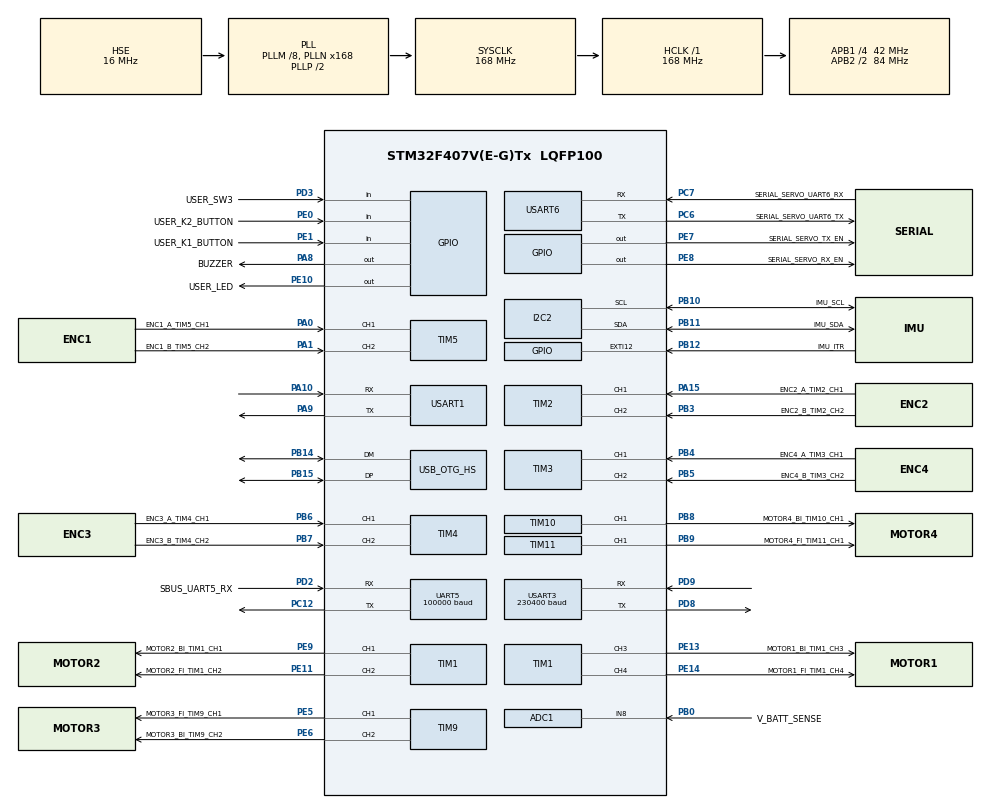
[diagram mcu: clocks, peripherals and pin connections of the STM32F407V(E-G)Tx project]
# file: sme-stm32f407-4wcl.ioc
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ADC1.Channel-1\#ChannelRegularConversion=ADC_CHANNEL_8
ADC1.Channel-2\#ChannelRegularConversion=ADC_CHANNEL_VREFINT
ADC1.Channel-3\#ChannelRegularConversion=ADC_CHANNEL_TEMPSENSOR
ADC1.ClockPrescaler=ADC_CLOCK_SYNC_PCLK_DIV8
ADC1.ContinuousConvMode=ENABLE
ADC1.DMAContinuousRequests=ENABLE
ADC1.EOCSelection=ADC_EOC_SEQ_CONV
ADC1.NbrOfConversion=3
ADC1.NbrOfConversionFlag=1
ADC1.Rank-1\#ChannelRegularConversion=1
ADC1.Rank-2\#ChannelRegularConversion=2
ADC1.Rank-3\#ChannelRegularConversion=3
ADC1.SamplingTime-1\#ChannelRegularConversion=ADC_SAMPLETIME_480CYCLES
ADC1.SamplingTime-2\#ChannelRegularConversion=ADC_SAMPLETIME_480CYCLES
ADC1.SamplingTime-3\#ChannelRegularConversion=ADC_SAMPLETIME_480CYCLES
ADC1.ScanConvMode=ENABLE
ADC1.master=1
Dma.ADC1.4.Direction=DMA_PERIPH_TO_MEMORY
Dma.ADC1.4.FIFOMode=DMA_FIFOMODE_DISABLE
Dma.ADC1.4.Instance=DMA2_Stream0
Dma.ADC1.4.MemDataAlignment=DMA_MDATAALIGN_HALFWORD
Dma.ADC1.4.MemInc=DMA_MINC_ENABLE
Dma.ADC1.4.Mode=DMA_CIRCULAR
Dma.ADC1.4.PeriphDataAlignment=DMA_PDATAALIGN_HALFWORD
Dma.ADC1.4.PeriphInc=DMA_PINC_DISABLE
Dma.ADC1.4.Priority=DMA_PRIORITY_HIGH
Dma.Request0=USART1_RX
Dma.Request1=USART1_TX
Dma.Request2=USART3_RX
Dma.Request3=USART3_TX
Dma.Request4=ADC1
Dma.Request5=UART5_RX
Dma.UART5_RX.5.Direction=DMA_PERIPH_TO_MEMORY
Dma.UART5_RX.5.FIFOMode=DMA_FIFOMODE_DISABLE
Dma.UART5_RX.5.Instance=DMA1_Stream0
Dma.UART5_RX.5.MemDataAlignment=DMA_MDATAALIGN_BYTE
Dma.UART5_RX.5.MemInc=DMA_MINC_ENABLE
Dma.UART5_RX.5.Mode=DMA_CIRCULAR
Dma.UART5_RX.5.PeriphDataAlignment=DMA_PDATAALIGN_BYTE
Dma.UART5_RX.5.PeriphInc=DMA_PINC_DISABLE
Dma.UART5_RX.5.Priority=DMA_PRIORITY_LOW
Dma.USART1_RX.0.Direction=DMA_PERIPH_TO_MEMORY
Dma.USART1_RX.0.FIFOMode=DMA_FIFOMODE_DISABLE
Dma.USART1_RX.0.Instance=DMA2_Stream2
Dma.USART1_RX.0.MemDataAlignment=DMA_MDATAALIGN_BYTE
Dma.USART1_RX.0.MemInc=DMA_MINC_ENABLE
Dma.USART1_RX.0.Mode=DMA_CIRCULAR
Dma.USART1_RX.0.PeriphDataAlignment=DMA_PDATAALIGN_BYTE
Dma.USART1_RX.0.PeriphInc=DMA_PINC_DISABLE
Dma.USART1_RX.0.Priority=DMA_PRIORITY_LOW
Dma.USART1_TX.1.Direction=DMA_MEMORY_TO_PERIPH
Dma.USART1_TX.1.FIFOMode=DMA_FIFOMODE_DISABLE
Dma.USART1_TX.1.Instance=DMA2_Stream7
Dma.USART1_TX.1.MemDataAlignment=DMA_MDATAALIGN_BYTE
Dma.USART1_TX.1.MemInc=DMA_MINC_ENABLE
Dma.USART1_TX.1.Mode=DMA_NORMAL
Dma.USART1_TX.1.PeriphDataAlignment=DMA_PDATAALIGN_BYTE
Dma.USART1_TX.1.PeriphInc=DMA_PINC_DISABLE
Dma.USART1_TX.1.Priority=DMA_PRIORITY_LOW
Dma.USART3_RX.2.Direction=DMA_PERIPH_TO_MEMORY
Dma.USART3_RX.2.FIFOMode=DMA_FIFOMODE_DISABLE
Dma.USART3_RX.2.Instance=DMA1_Stream1
Dma.USART3_RX.2.MemDataAlignment=DMA_MDATAALIGN_BYTE
Dma.USART3_RX.2.MemInc=DMA_MINC_ENABLE
Dma.USART3_RX.2.Mode=DMA_CIRCULAR
Dma.USART3_RX.2.PeriphDataAlignment=DMA_PDATAALIGN_BYTE
Dma.USART3_RX.2.PeriphInc=DMA_PINC_DISABLE
Dma.USART3_RX.2.Priority=DMA_PRIORITY_MEDIUM
Dma.USART3_TX.3.Direction=DMA_MEMORY_TO_PERIPH
Dma.USART3_TX.3.FIFOMode=DMA_FIFOMODE_DISABLE
Dma.USART3_TX.3.Instance=DMA1_Stream3
Dma.USART3_TX.3.MemDataAlignment=DMA_MDATAALIGN_BYTE
Dma.USART3_TX.3.MemInc=DMA_MINC_ENABLE
Dma.USART3_TX.3.Mode=DMA_NORMAL
Dma.USART3_TX.3.PeriphDataAlignment=DMA_PDATAALIGN_BYTE
Dma.USART3_TX.3.PeriphInc=DMA_PINC_DISABLE
Dma.USART3_TX.3.Priority=DMA_PRIORITY_MEDIUM
FREERTOS.Tasks01=defaultTask,24,256,StartDefaultTask,As weak,NULL,Dynamic,NULL,NULL
FREERTOS.configENABLE_FPU=0
FREERTOS.configTOTAL_HEAP_SIZE=64000
Mcu.Family=STM32F4
Mcu.Name=STM32F407V(E-G)Tx
Mcu.Package=LQFP100
NVIC.DMA1_Stream0_IRQn=true\:5\:0\:false\:false\:true\:true\:false\:true\:true
NVIC.DMA1_Stream1_IRQn=true\:5\:0\:false\:false\:true\:true\:false\:true\:true
NVIC.DMA1_Stream3_IRQn=true\:5\:0\:false\:false\:true\:true\:false\:true\:true
NVIC.DMA2_Stream0_IRQn=true\:5\:0\:false\:false\:true\:true\:false\:true\:true
NVIC.DMA2_Stream2_IRQn=true\:5\:0\:false\:false\:true\:true\:false\:true\:true
NVIC.DMA2_Stream7_IRQn=true\:5\:0\:false\:false\:true\:true\:false\:true\:true
NVIC.OTG_HS_IRQn=true\:5\:0\:false\:false\:true\:true\:false\:true\:true
NVIC.PriorityGroup=NVIC_PRIORITYGROUP_4
NVIC.TIM6_DAC_IRQn=true\:15\:0\:false\:false\:true\:false\:false\:true\:true
NVIC.TimeBase=TIM6_DAC_IRQn
NVIC.TimeBaseIP=TIM6
NVIC.UART5_IRQn=true\:5\:0\:false\:false\:true\:true\:true\:true\:true
NVIC.USART1_IRQn=true\:5\:0\:false\:false\:true\:true\:true\:true\:true
NVIC.USART3_IRQn=true\:5\:0\:false\:false\:true\:true\:true\:true\:true
NVIC.USART6_IRQn=true\:5\:0\:false\:false\:true\:true\:true\:true\:true
PA0-WKUP.GPIO_Label=ENC1_A_TIM5_CH1
PA0-WKUP.Signal=S_TIM5_CH1
PA1.GPIO_Label=ENC1_B_TIM5_CH2
PA1.Signal=S_TIM5_CH2
PA10.GPIO_Speed=GPIO_SPEED_FREQ_VERY_HIGH
PA10.Mode=Asynchronous
PA10.Signal=USART1_RX
PA13.Mode=Serial_Wire
PA13.Signal=SYS_JTMS-SWDIO
PA14.Mode=Serial_Wire
PA14.Signal=SYS_JTCK-SWCLK
PA15.GPIO_Label=ENC2_A_TIM2_CH1
PA15.Signal=S_TIM2_CH1_ETR
PA8.GPIO_Label=BUZZER
PA8.Signal=GPIO_Output
PA9.GPIO_Speed=GPIO_SPEED_FREQ_VERY_HIGH
PA9.Mode=Asynchronous
PA9.Signal=USART1_TX
PB0.GPIO_Label=V_BATT_SENSE
PB0.Signal=ADCx_IN8
PB10.GPIO_Label=IMU_SCL
PB10.GPIO_Pu=GPIO_PULLUP
PB10.Mode=I2C
PB10.Signal=I2C2_SCL
PB11.GPIO_Label=IMU_SDA
PB11.GPIO_Pu=GPIO_PULLUP
PB11.Mode=I2C
PB11.Signal=I2C2_SDA
PB12.GPIO_Label=IMU_ITR
PB12.Signal=GPXTI12
PB14.Mode=Host_FS
PB14.Signal=USB_OTG_HS_DM
PB15.Mode=Host_FS
PB15.Signal=USB_OTG_HS_DP
PB3.GPIO_Label=ENC2_B_TIM2_CH2
PB3.Signal=S_TIM2_CH2
PB4.GPIO_Label=ENC4_A_TIM3_CH1
PB4.Signal=S_TIM3_CH1
PB5.GPIO_Label=ENC4_B_TIM3_CH2
PB5.Signal=S_TIM3_CH2
PB6.GPIO_Label=ENC3_A_TIM4_CH1
PB6.Signal=S_TIM4_CH1
PB7.GPIO_Label=ENC3_B_TIM4_CH2
PB7.Signal=S_TIM4_CH2
PB8.GPIO_Label=MOTOR4_BI_TIM10_CH1
PB8.Signal=S_TIM10_CH1
PB9.GPIO_Label=MOTOR4_FI_TIM11_CH1
PB9.Signal=S_TIM11_CH1
PC12.GPIO_Speed=GPIO_SPEED_FREQ_VERY_HIGH
PC12.Mode=Asynchronous
PC12.Signal=UART5_TX
PC6.GPIO_Label=SERIAL_SERVO_UART6_TX
PC6.GPIO_Speed=GPIO_SPEED_FREQ_VERY_HIGH
PC6.Mode=Asynchronous
PC6.Signal=USART6_TX
PC7.GPIO_Label=SERIAL_SERVO_UART6_RX
PC7.GPIO_Speed=GPIO_SPEED_FREQ_VERY_HIGH
PC7.Mode=Asynchronous
PC7.Signal=USART6_RX
PD2.GPIO_Label=SBUS_UART5_RX
PD2.GPIO_Speed=GPIO_SPEED_FREQ_VERY_HIGH
PD2.Mode=Asynchronous
PD2.Signal=UART5_RX
PD3.GPIO_Label=USER_SW3
PD3.Signal=GPIO_Input
PD8.GPIO_Speed=GPIO_SPEED_FREQ_VERY_HIGH
PD8.Mode=Asynchronous
PD8.Signal=USART3_TX
PD9.GPIO_Speed=GPIO_SPEED_FREQ_VERY_HIGH
PD9.Mode=Asynchronous
PD9.Signal=USART3_RX
PE0.GPIO_Label=USER_K2_BUTTON
PE0.Signal=GPIO_Input
PE1.GPIO_Label=USER_K1_BUTTON
PE1.Signal=GPIO_Input
PE10.GPIO_Label=USER_LED
PE10.Signal=GPIO_Output
PE11.GPIO_Label=MOTOR2_FI_TIM1_CH2
PE11.Signal=S_TIM1_CH2
PE13.GPIO_Label=MOTOR1_BI_TIM1_CH3
PE13.Signal=S_TIM1_CH3
PE14.GPIO_Label=MOTOR1_FI_TIM1_CH4
PE14.Signal=S_TIM1_CH4
PE5.GPIO_Label=MOTOR3_FI_TIM9_CH1
PE5.Signal=S_TIM9_CH1
PE6.GPIO_Label=MOTOR3_BI_TIM9_CH2
PE6.Signal=S_TIM9_CH2
PE7.GPIO_Label=SERIAL_SERVO_TX_EN
PE7.Signal=GPIO_Output
PE8.GPIO_Label=SERIAL_SERVO_RX_EN
PE8.Signal=GPIO_Output
PE9.GPIO_Label=MOTOR2_BI_TIM1_CH1
PE9.Signal=S_TIM1_CH1
PH0-OSC_IN.Mode=HSE-External-Oscillator
PH0-OSC_IN.Signal=RCC_OSC_IN
PH1-OSC_OUT.Mode=HSE-External-Oscillator
PH1-OSC_OUT.Signal=RCC_OSC_OUT
ProjectManager.HeapSize=0x200
ProjectManager.StackSize=0x400
ProjectManager.TargetToolchain=CMake
RCC.48MHZClocksFreq_Value=48000000
RCC.AHBFreq_Value=168000000
RCC.APB1CLKDivider=RCC_HCLK_DIV4
RCC.APB1Freq_Value=42000000
RCC.APB1TimFreq_Value=84000000
RCC.APB2CLKDivider=RCC_HCLK_DIV2
RCC.APB2Freq_Value=84000000
RCC.APB2TimFreq_Value=168000000
RCC.CortexFreq_Value=168000000
RCC.HCLKFreq_Value=168000000
RCC.HSE_VALUE=16000000
RCC.HSI_VALUE=16000000
RCC.LSE_VALUE=32768
RCC.PLLM=8
RCC.PLLN=168
RCC.PLLQ=7
RCC.SYSCLKFreq_VALUE=168000000
RCC.SYSCLKSource=RCC_SYSCLKSOURCE_PLLCLK
RCC.VCOOutputFreq_Value=336000000
SH.ADCx_IN8.0=ADC1_IN8,IN8
SH.S_TIM10_CH1.0=TIM10_CH1,PWM Generation1 CH1
SH.S_TIM11_CH1.0=TIM11_CH1,PWM Generation1 CH1
SH.S_TIM1_CH1.0=TIM1_CH1,PWM Generation1 CH1
SH.S_TIM1_CH2.0=TIM1_CH2,PWM Generation2 CH2
SH.S_TIM1_CH3.0=TIM1_CH3,PWM Generation3 CH3
SH.S_TIM1_CH4.0=TIM1_CH4,PWM Generation4 CH4
SH.S_TIM2_CH1_ETR.0=TIM2_CH1,Encoder_Interface
SH.S_TIM2_CH2.0=TIM2_CH2,Encoder_Interface
SH.S_TIM3_CH1.0=TIM3_CH1,Encoder_Interface
SH.S_TIM3_CH2.0=TIM3_CH2,Encoder_Interface
SH.S_TIM4_CH1.0=TIM4_CH1,Encoder_Interface
SH.S_TIM4_CH2.0=TIM4_CH2,Encoder_Interface
SH.S_TIM5_CH1.0=TIM5_CH1,Encoder_Interface
SH.S_TIM5_CH2.0=TIM5_CH2,Encoder_Interface
SH.S_TIM9_CH1.0=TIM9_CH1,PWM Generation1 CH1
SH.S_TIM9_CH2.0=TIM9_CH2,PWM Generation2 CH2
TIM1.Channel-PWM\ Generation1\ CH1=TIM_CHANNEL_1
TIM1.Channel-PWM\ Generation2\ CH2=TIM_CHANNEL_2
TIM1.Channel-PWM\ Generation3\ CH3=TIM_CHANNEL_3
TIM1.Channel-PWM\ Generation4\ CH4=TIM_CHANNEL_4
TIM10.Channel=TIM_CHANNEL_1
TIM11.Channel=TIM_CHANNEL_1
TIM9.Channel-PWM\ Generation1\ CH1=TIM_CHANNEL_1
TIM9.Channel-PWM\ Generation2\ CH2=TIM_CHANNEL_2
UART5.BaudRate=100000
UART5.Mode=MODE_RX
UART5.Parity=PARITY_ODD
UART5.StopBits=UART_STOPBITS_2
UART5.VirtualMode=Asynchronous
UART5.WordLength=WORDLENGTH_9B
USART1.VirtualMode=VM_ASYNC
USART3.BaudRate=230400
USART3.VirtualMode=VM_ASYNC
USART6.VirtualMode=VM_ASYNC
USB_HOST.SW_VBUS_DRIVE_HID_HS=true
USB_HOST.USBH_HandleTypeDef-HID_HS=hUsbHostHS
USB_HOST.USBH_MAX_NUM_CONFIGURATION-HID_HS=2
USB_HOST.USBH_MAX_SIZE_CONFIGURATION-HID_HS=512
USB_HOST.USBH_PROCESS_STACK_SIZE-HID_HS=2048
USB_HOST.VirtualModeHS=Hid
USB_OTG_HS.VirtualMode-Host_FS=Host_FS
VP_ADC1_TempSens_Input.Mode=IN-TempSens
VP_ADC1_Vref_Input.Mode=IN-Vrefint
VP_FREERTOS_VS_CMSIS_V2.Mode=CMSIS_V2
VP_SYS_VS_tim6.Mode=TIM6
VP_TIM10_VS_ClockSourceINT.Mode=Enable_Timer
VP_TIM11_VS_ClockSourceINT.Mode=Enable_Timer
VP_TIM1_VS_ClockSourceINT.Mode=Internal
VP_USB_HOST_VS_USB_HOST_HID_HS.Mode=HID_HS
board=custom

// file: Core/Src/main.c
/* USER CODE BEGIN Header */
/**
  ******************************************************************************
  * @file           : main.c
  * @brief          : Main program body
  ******************************************************************************
  * @attention
  *
  * Copyright (c) 2026 STMicroelectronics.
  * All rights reserved.
  *
  * This software is licensed under terms that can be found in the LICENSE file
  * in the root directory of this software component.
  * If no LICENSE file comes with this software, it is provided AS-IS.
  *
  ******************************************************************************
  */
/* USER CODE END Header */
#include "main.h"
#include "cmsis_os.h"
#include "adc.h"
#include "dma.h"
#include "i2c.h"
#include "tim.h"
#include "usart.h"
#include "usb_host.h"
#include "gpio.h"

/* USER CODE BEGIN Includes */
#include <stdio.h>
#include "robot_state.h"
#include "bsp_mcu_sensors.h"
#include "bsp_battery.h"
#include "bsp_console.h"
#include "app_config.h"
#include "app_rtos.h"
#include <string.h>
/* USER CODE END Includes */

void SystemClock_Config(void);
void MX_FREERTOS_Init(void);

int main(void)
{

  /* MCU Configuration--------------------------------------------------------*/

  /* Reset of all peripherals, Initializes the Flash interface and the Systick. */
  HAL_Init();

  /* Configure the system clock */
  SystemClock_Config();

  /* Initialize all configured peripherals */
  MX_GPIO_Init();
  MX_DMA_Init();
  MX_USART1_UART_Init();
  MX_USART3_UART_Init();
  MX_ADC1_Init();
  MX_I2C2_Init();
  MX_TIM1_Init();
  MX_TIM2_Init();
  MX_TIM3_Init();
  MX_TIM4_Init();
  MX_TIM5_Init();
  MX_TIM9_Init();
  MX_TIM10_Init();
  MX_TIM11_Init();
  MX_USART6_UART_Init();
  MX_UART5_Init();
  /* USER CODE BEGIN 2 */
  /* App Configuration Init */
  AppConfig_Init();

  /* Initialize Robot State from defaults */
  RobotState_Init();

  /* Post-Init Verification */
  if (HAL_ADC_GetState(&hadc1) == HAL_ADC_STATE_ERROR) {
      RobotState_SetErrorFlag(ERR_HAL_ADC);
  }
  if (huart1.gState == HAL_UART_STATE_ERROR) {
      RobotState_SetErrorFlag(ERR_HAL_UART);
  }

  /* BSP System Sensors Init (Batt, Vref, Temp) */
  BSP_SystemSensors_Init();
  /* USER CODE END 2 */

  /* Init scheduler */
  osKernelInitialize();  /* Call init function for freertos objects (in cmsis_os2.c) */
  MX_FREERTOS_Init();

  /* Start scheduler */
  osKernelStart();

  /* We should never get here as control is now taken by the scheduler */

  /* Infinite loop */
  while (1)
  {

  }
}

void SystemClock_Config(void)
{
  RCC_OscInitTypeDef RCC_OscInitStruct = {0};
  RCC_ClkInitTypeDef RCC_ClkInitStruct = {0};

  /** Configure the main internal regulator output voltage
  */
  __HAL_RCC_PWR_CLK_ENABLE();
  __HAL_PWR_VOLTAGESCALING_CONFIG(PWR_REGULATOR_VOLTAGE_SCALE1);

  /** Initializes the RCC Oscillators according to the specified parameters
  * in the RCC_OscInitTypeDef structure.
  */
  RCC_OscInitStruct.OscillatorType = RCC_OSCILLATORTYPE_HSE;
  RCC_OscInitStruct.HSEState = RCC_HSE_ON;
  RCC_OscInitStruct.PLL.PLLState = RCC_PLL_ON;
  RCC_OscInitStruct.PLL.PLLSource = RCC_PLLSOURCE_HSE;
  RCC_OscInitStruct.PLL.PLLM = 8;
  RCC_OscInitStruct.PLL.PLLN = 168;
  RCC_OscInitStruct.PLL.PLLP = RCC_PLLP_DIV2;
  RCC_OscInitStruct.PLL.PLLQ = 7;
  if (HAL_RCC_OscConfig(&RCC_OscInitStruct) != HAL_OK)
  {
    Error_Handler();
  }

  /** Initializes the CPU, AHB and APB buses clocks
  */
  RCC_ClkInitStruct.ClockType = RCC_CLOCKTYPE_HCLK|RCC_CLOCKTYPE_SYSCLK
                              |RCC_CLOCKTYPE_PCLK1|RCC_CLOCKTYPE_PCLK2;
  RCC_ClkInitStruct.SYSCLKSource = RCC_SYSCLKSOURCE_PLLCLK;
  RCC_ClkInitStruct.AHBCLKDivider = RCC_SYSCLK_DIV1;
  RCC_ClkInitStruct.APB1CLKDivider = RCC_HCLK_DIV4;
  RCC_ClkInitStruct.APB2CLKDivider = RCC_HCLK_DIV2;

  if (HAL_RCC_ClockConfig(&RCC_ClkInitStruct, FLASH_LATENCY_5) != HAL_OK)
  {
    Error_Handler();
  }
}

/* USER CODE BEGIN 4 */
/* Force linker to include float support for printf (%f) in newlib-nano */
__asm__(".global _printf_float");

/**
  * @brief  Retargets the C library printf function to the UART.
  */
int __io_putchar(int ch)
{
  HAL_UART_Transmit(&huart1, (uint8_t *)&ch, 1, 0xFFFF);
  return ch;
}

/**
  * @brief  Standard System Call _write override.
  * Redirects printf/stdout to the non-blocking DMA RTOS queue.
  */
int _write(int file, char *ptr, int len)
{
  if ((file == 1) || (file == 2)) // stdout, stderr
  {
    /* If RTOS and Queue are ready, use the non-blocking DMA pipeline */
    if (consoleTxQueueHandle != NULL) {
      int sent = 0;
      while (sent < len) {
        Console_Packet_t packet;
        int chunk = (len - sent > 256) ? 256 : (len - sent);

        packet.size = (uint16_t)chunk;
        memcpy(packet.data, ptr + sent, chunk);

        /* Non-blocking put in queue (timeout 0) */
        osal_status_t status = osal_queue_put(consoleTxQueueHandle, &packet, 0);
        if (status != OSAL_OK) break; // Queue full, stop or drop

        sent += chunk;
      }
      return sent;
    } else {
      /* Fallback to blocking UART before RTOS is started */
      for (int i = 0; i < len; i++) {
          __io_putchar(*ptr++);
      }
      return len;
    }
  }
  return -1;
}

/**
  * @brief  FreeRTOS Stack Overflow Hook.
  * @param  xTask : Handle of the task that overflowed its stack.
  * @param  pcTaskName : Name of the task.
  */
void vApplicationStackOverflowHook(TaskHandle_t xTask, char *pcTaskName)
{
  /* If this is called, then a task has indeed overflowed its stack.
     Illegal to call printf or taskENTER_CRITICAL from here as it may
     be called from the context of the PendSV handler or during context switch. */
  (void)xTask;
  (void)pcTaskName;
  Error_Handler();
}

/**
  * @brief  FreeRTOS Malloc Failed Hook.
  */
void vApplicationMallocFailedHook(void)
{
  /* Called if a call to pvPortMalloc() fails because there is insufficient
     free memory available in the FreeRTOS heap. */
  RobotState_SetErrorFlag(ERR_RTOS_QUEUE);
  printf("\r\n--- MALLOC FAILED ---\r\n");
  Error_Handler();
}
/* USER CODE END 4 */

void HAL_TIM_PeriodElapsedCallback(TIM_HandleTypeDef *htim)
{
  if (htim->Instance == TIM6)
  {
    HAL_IncTick();
  }
}

void Error_Handler(void)
{
  /* USER CODE BEGIN Error_Handler_Debug */
  /* User can add his own implementation to report the HAL error return state */
  RobotState_SetErrorFlag(ERR_SYS_PANIC);

  __disable_irq();
  while (1)
  {
    HAL_GPIO_TogglePin(USER_LED_GPIO_Port, USER_LED_Pin);
    for (volatile int i = 0; i < 500000; i++); // Busy-wait for fast blink
  }
  /* USER CODE END Error_Handler_Debug */
}

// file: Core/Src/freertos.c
/* USER CODE BEGIN Header */
/**
  ******************************************************************************
  * File Name          : freertos.c
  * Description        : Code for freertos applications
  ******************************************************************************
  * @attention
  *
  * Copyright (c) 2026 STMicroelectronics.
  * All rights reserved.
  *
  * This software is licensed under terms that can be found in the LICENSE file
  * in the root directory of this software component.
  * If no LICENSE file comes with this software, it is provided AS-IS.
  *
  ******************************************************************************
  */
/* USER CODE END Header */

#include "FreeRTOS.h"
#include "task.h"
#include "main.h"
#include "cmsis_os.h"

/* USER CODE BEGIN Includes */
#include <stdio.h>
#include <string.h>
#include "usart.h"
#include "adc.h"
#include "app_rtos.h"
#include "usb_host.h"
#include "usbh_core.h"
/* USER CODE END Includes */

/* Definitions for defaultTask */
osThreadId_t defaultTaskHandle;
const osThreadAttr_t defaultTask_attributes = {
  .name = "defaultTask",
  .stack_size = 1024 * 4,
  .priority = (osPriority_t) osPriorityNormal,
};

void StartDefaultTask(void *argument);

extern void MX_USB_HOST_Init(void);
void MX_FREERTOS_Init(void); /* (MISRA C 2004 rule 8.1) */

void MX_FREERTOS_Init(void) {

  /* Create the thread(s) */
  /* creation of defaultTask */
  defaultTaskHandle = osThreadNew(StartDefaultTask, NULL, &defaultTask_attributes);

  /* USER CODE BEGIN RTOS_THREADS */
  /* add threads, ... */
  App_RTOS_Init();
  /* USER CODE END RTOS_THREADS */

}

__weak void StartDefaultTask(void *argument)
{
  /* init code for USB_HOST */
  MX_USB_HOST_Init();
  /* USER CODE BEGIN StartDefaultTask */
  /* Logic moved to Application/Main/Src/app_main.c */
  for(;;)
  {
    USBH_Process(&hUsbHostHS);
    osDelay(10);
  }
  /* USER CODE END StartDefaultTask */
}
